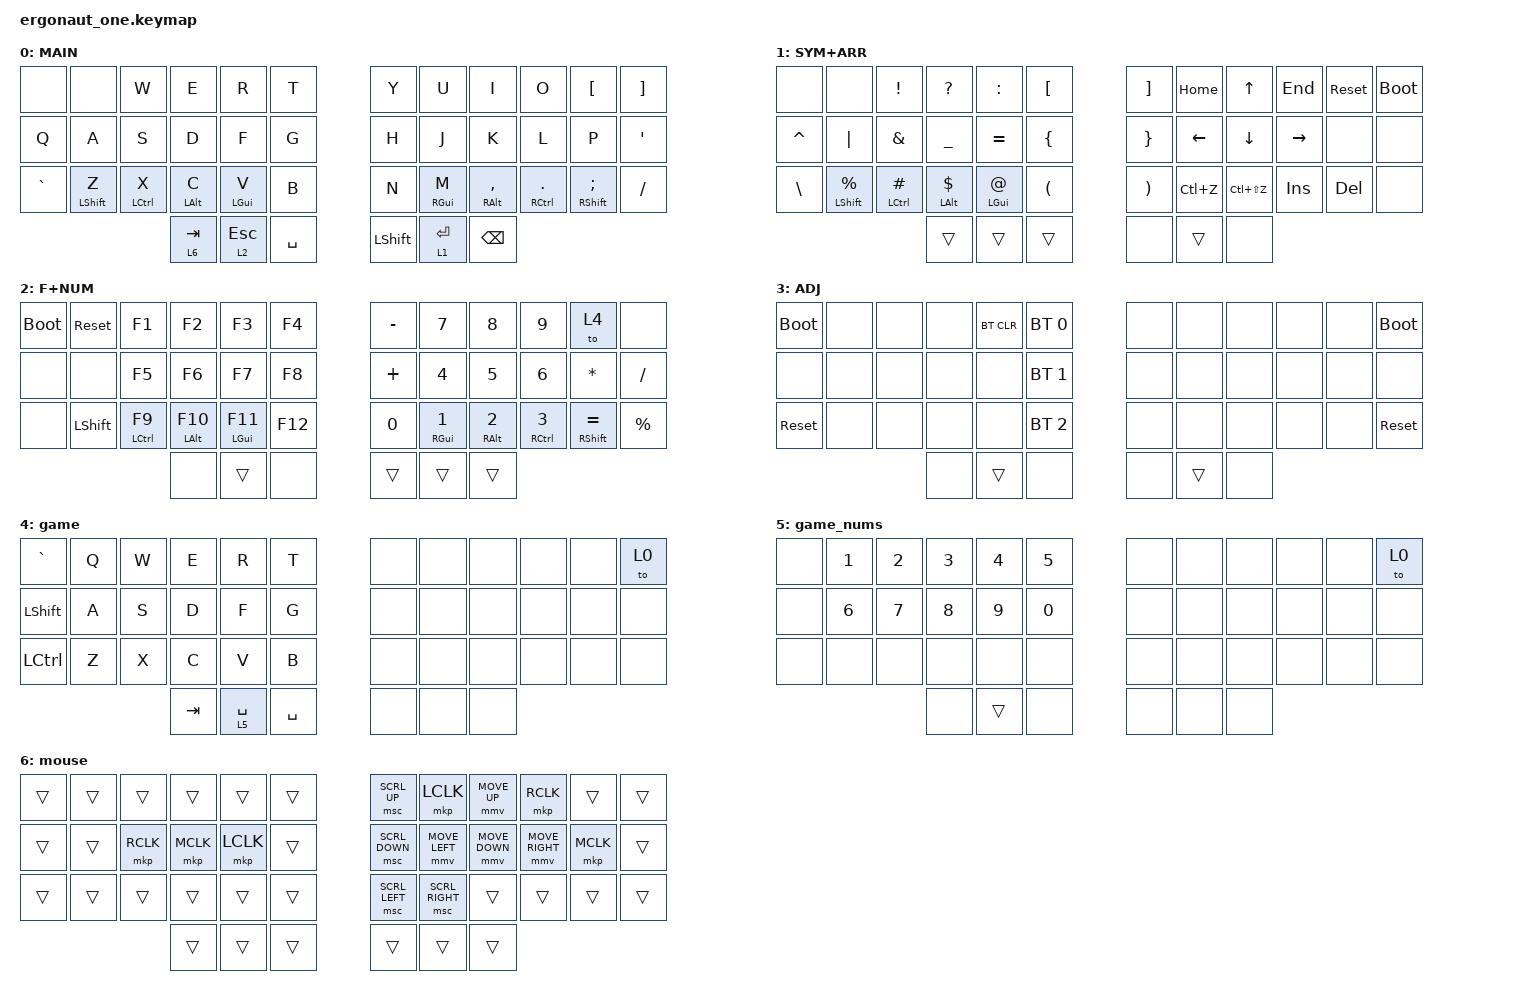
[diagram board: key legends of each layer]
#define ZMK_POINTING_DEFAULT_MOVE_VAL 900  // default: 600
#define ZMK_POINTING_DEFAULT_SCRL_VAL 15        // default: 10

#include <behaviors.dtsi>
#include <dt-bindings/zmk/bt.h>
#include <dt-bindings/zmk/keys.h>
#include <dt-bindings/zmk/pointing.h>

#define DEF 0
#define LWR 1
#define RSE 2
#define ADJ 3
#define QUICK_TAP_MS 200
#define REQUIRE_PRIOR_IDLE_MS 175
#define TAPPING_TERM_MS 280
#define COMBO_PRIOR_IDLE 100
#define COMBO_TIMEOUT 70

&lt {
    tapping-term-ms = <150>;
    flavor = "hold-preferred";
};

&mt {
    tapping-term-ms = <150>;
    flavor = "balanced";
    quick-tap-ms = <200>;
};

/ {
    behaviors {
        hml: homewrow_mods_left {
            compatible = "zmk,behavior-hold-tap";
            #binding-cells = <2>;
            bindings = <&kp>, <&kp>;

            flavor = "balanced";
            tapping-term-ms = <280>;
            require-prior-idle-ms = <200>;
            hold-trigger-on-release;
            hold-trigger-key-positions = <6 7 8 9 10 11 18 19 20 21 22 23 30 31 32 33 34 35 39 40 41>;
        };

        hmr: homewrow_mods_right {
            compatible = "zmk,behavior-hold-tap";
            #binding-cells = <2>;
            bindings = <&kp>, <&kp>;

            flavor = "balanced";
            tapping-term-ms = <280>;
            require-prior-idle-ms = <200>;
            hold-trigger-on-release;
            hold-trigger-key-positions = <0 1 2 3 4 5 12 13 14 15 16 17 24 25 26 27 28 29 36 37 38>;
        };

        hm: hm {
            compatible = "zmk,behavior-hold-tap";
            label = "HM";
            bindings = <&kp>, <&kp>;

            #binding-cells = <2>;
            flavor = "balanced";
            require-prior-idle-ms = <100>;
            tapping-term-ms = <150>;
        };
    };

    conditional_layers {
        compatible = "zmk,conditional-layers";

        tri-layer {
            if-layers = <2 6>;
            then-layer = <3>;
        };
    };

    combos { compatible = "zmk,combos"; };

    keymap {
        compatible = "zmk,keymap";

        default_layer {
            display-name = "MAIN";
            bindings = <
&none      &none             &kp W        &kp E           &kp R           &kp T      &kp Y           &kp U            &kp I                &kp O          &kp LEFT_BRACKET           &kp RIGHT_BRACKET
&kp Q      &kp A             &kp S        &kp D           &kp F           &kp G      &kp H           &kp J            &kp K                &kp L          &kp P                      &kp SQT
&kp GRAVE  &hm LEFT_SHIFT Z  &hm LCTRL X  &hm LEFT_ALT C  &hm LEFT_GUI V  &kp B      &kp N           &hm RIGHT_GUI M  &hm RIGHT_ALT COMMA  &hm RCTRL DOT  &hm RIGHT_SHIFT SEMICOLON  &kp SLASH
                                          &lt 6 TAB       &lt 2 ESCAPE    &kp SPACE  &kp LEFT_SHIFT  &lt 1 ENTER      &kp BACKSPACE
            >;
        };

        lower_layer {
            display-name = "SYM+ARR";
            bindings = <
&none          &none                   &kp EXCLAMATION  &kp QUESTION         &kp COLON        &kp LEFT_BRACKET      &kp RIGHT_BRACKET      &kp HOME   &kp UP         &kp END     &sys_reset  &bootloader
&kp CARET      &kp PIPE                &kp AMPERSAND    &kp UNDERSCORE       &kp EQUAL        &kp LEFT_BRACE        &kp RIGHT_BRACE        &kp LEFT   &kp DOWN       &kp RIGHT   &none       &none
&kp BACKSLASH  &hm LEFT_SHIFT PERCENT  &hm LCTRL HASH   &hm LEFT_ALT DOLLAR  &hm LEFT_GUI AT  &kp LEFT_PARENTHESIS  &kp RIGHT_PARENTHESIS  &kp LC(Z)  &kp LC(LS(Z))  &kp INSERT  &kp DELETE  &none
                                                        &trans               &trans           &trans                &none                  &trans     &none
            >;
        };

        raise_layer {
            display-name = "F+NUM";
            bindings = <
&bootloader  &sys_reset      &kp F1        &kp F2            &kp F3            &kp F4   &kp MINUS  &kp N7                  &kp N8                  &kp N9              &to 4                  &none
&none        &none           &kp F5        &kp F6            &kp F7            &kp F8   &kp PLUS   &kp NUMBER_4            &kp NUMBER_5            &kp NUMBER_6        &kp ASTERISK           &kp SLASH
&none        &kp LEFT_SHIFT  &hm LCTRL F9  &hm LEFT_ALT F10  &hm LEFT_GUI F11  &kp F12  &kp N0     &hm RIGHT_GUI NUMBER_1  &hm RIGHT_ALT NUMBER_2  &hm RCTRL NUMBER_3  &hm RIGHT_SHIFT EQUAL  &kp PERCENT
                                           &none             &trans            &none    &trans     &trans                  &trans
            >;
        };

        adjust_layer {
            display-name = "ADJ";
            bindings = <
&bootloader  &none  &none  &none  &bt BT_CLR  &bt BT_SEL 0  &none  &none   &none  &none  &none  &bootloader
&none        &none  &none  &none  &none       &bt BT_SEL 1  &none  &none   &none  &none  &none  &none
&sys_reset   &none  &none  &none  &none       &bt BT_SEL 2  &none  &none   &none  &none  &none  &sys_reset
                           &none  &trans      &none         &none  &trans  &none
            >;
        };

        game {
            bindings = <
&kp GRAVE       &kp Q  &kp W  &kp E    &kp R        &kp T      &none  &none  &none  &none  &none  &to 0
&kp LEFT_SHIFT  &kp A  &kp S  &kp D    &kp F        &kp G      &none  &none  &none  &none  &none  &none
&kp LCTRL       &kp Z  &kp X  &kp C    &kp V        &kp B      &none  &none  &none  &none  &none  &none
                              &kp TAB  &lt 5 SPACE  &kp SPACE  &none  &none  &none
            >;
        };

        game_nums {
            bindings = <
&none  &kp NUMBER_1  &kp NUMBER_2  &kp NUMBER_3  &kp NUMBER_4  &kp NUMBER_5  &none  &none  &none  &none  &none  &to 0
&none  &kp NUMBER_6  &kp NUMBER_7  &kp NUMBER_8  &kp NUMBER_9  &kp NUMBER_0  &none  &none  &none  &none  &none  &none
&none  &none         &none         &none         &none         &none         &none  &none  &none  &none  &none  &none
                                   &none         &trans        &none         &none  &none  &none
            >;
        };

        mouse {
            bindings = <
&trans  &trans  &trans     &trans     &trans     &trans  &msc SCRL_UP    &mkp LCLK        &mmv MOVE_UP    &mkp RCLK        &trans     &trans
&trans  &trans  &mkp RCLK  &mkp MCLK  &mkp LCLK  &trans  &msc SCRL_DOWN  &mmv MOVE_LEFT   &mmv MOVE_DOWN  &mmv MOVE_RIGHT  &mkp MCLK  &trans
&trans  &trans  &trans     &trans     &trans     &trans  &msc SCRL_LEFT  &msc SCRL_RIGHT  &trans          &trans           &trans     &trans
                           &trans     &trans     &trans  &trans          &trans           &trans
            >;
        };
    };
};
